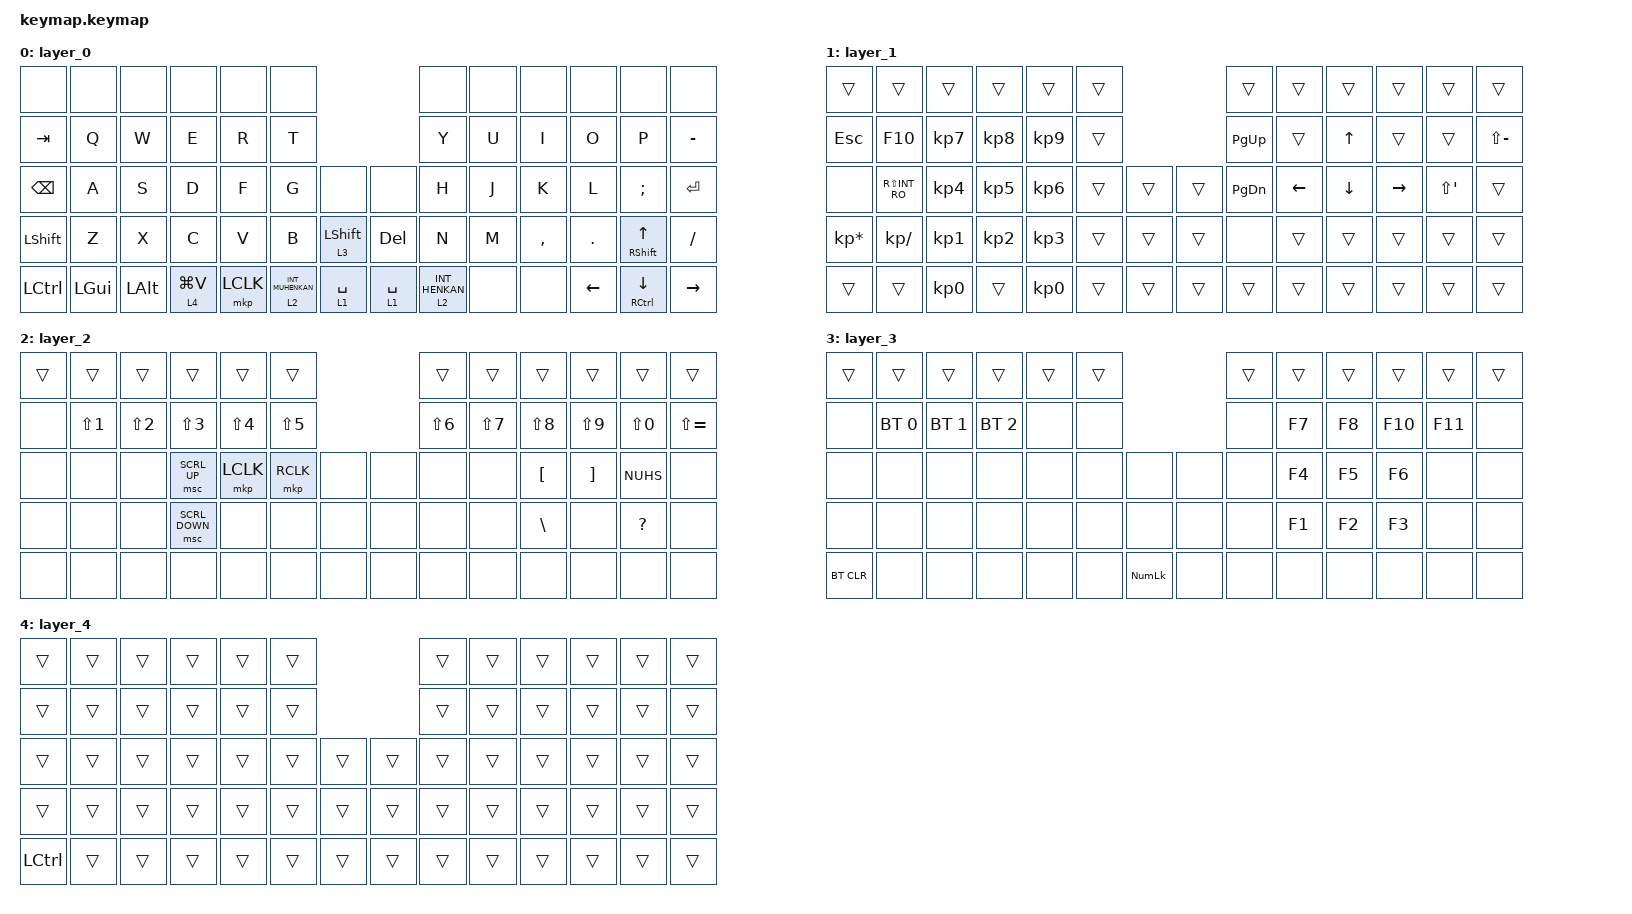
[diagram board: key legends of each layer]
#include <behaviors.dtsi>
#include <dt-bindings/zmk/bt.h>
#include <dt-bindings/zmk/keys.h>
#include <dt-bindings/zmk/pointing.h>

&lt {
    flavor = "balanced";
    bindings = <&mo>, <&kp>;
    tapping-term-ms = <150>;
};

&mt {
    bindings = <&kp>, <&kp>;
    tapping-term-ms = <150>;
    flavor = "balanced";
};

/ {
    /* 🏎️ 縦スクロール（WHEEL）を「1/3の速度」に落とすためのプロセッサ */
    zip_scroll_scaler_y: zip_scroll_scaler_y {
        compatible = "zmk,input-processor-scaler";
        #input-processor-cells = <2>;
        type = <INPUT_EV_REL>;
        codes = <INPUT_REL_WHEEL>;
        track-remainders;
    };

    /* 🔄 横スクロール（HWHEEL）の倍率をマイナスにして「左右反転 ＆ 1/3の速度」にするためのプロセッサ */
    zip_scroll_scaler_x: zip_scroll_scaler_x {
        compatible = "zmk,input-processor-scaler";
        #input-processor-cells = <2>;
        type = <INPUT_EV_REL>;
        codes = <INPUT_REL_HWHEEL>;
        track-remainders;
    };

    /* 🎯 完璧に動作した本物のリスナーノードをルート内部で上書き拡張！ */
    pointing_listener {
        status = "okay";
        device = <&{/}>;
        
        scroller {
            layers = <2>;
            /* 
             * 🏁 処理の順番：
             * ① 内蔵マッパーでまずは安全にスクロールへ変換（&zip_xy_to_scroll_mapper）
             * ② 縦スクロールを 1/3速 に減速（&zip_scroll_scaler_y 1 3）
             * ③ 横スクロールの倍率をマイナスにして、左右反転 ＆ 1/3速 に同時変換
             *   （エラー回避のため、マイナス1を丸括弧で囲んで `(-1)` と安全に記述しています）
             */
            input-processors = 
                <&zip_xy_to_scroll_mapper>, 
                <&zip_scroll_scaler_y 1 3>, 
                <&zip_scroll_scaler_x (-1) 3>; // 👈 ここを (-1) にして構文エラーを完全撃破！
        };
    };

    combos {
        compatible = "zmk,combos";

        f2 {
            bindings = <&kp F2>;
            key-positions = <28 27>;
        };

        leftclick {
            bindings = <&mkp LCLK>;
            key-positions = <33 34>;
        };

        rightclick {
            bindings = <&mkp RCLK>;
            key-positions = <34 35>;
        };
    };

    keymap {
        compatible = "zmk,keymap";

        layer_0 {
            bindings = <
&none             &none         &none         &none        &none      &none                                         &none             &none  &none      &none     &none                     &none
&kp TAB           &kp Q         &kp W         &kp E        &kp R      &kp T                                         &kp Y             &kp U  &kp I      &kp O     &kp P                     &kp MINUS
&kp BACKSPACE     &kp A         &kp S         &kp D        &kp F      &kp G               &none        &none        &kp H             &kp J  &kp K      &kp L     &kp SEMI                  &kp ENTER
&kp LSHFT         &kp Z         &kp X         &kp C        &kp V      &kp B               &lt 3 LSHFT  &kp DEL      &kp N             &kp M  &kp COMMA  &kp DOT   &mt RIGHT_SHIFT UP_ARROW  &kp SLASH
&kp LEFT_CONTROL  &kp LEFT_GUI  &kp LEFT_ALT  &lt 4 LG(V)  &mkp LCLK  &lt 2 INT_MUHENKAN  &lt 1 SPACE  &lt 1 SPACE  &lt 2 INT_HENKAN  &none  &none      &kp LEFT  &mt RCTRL DOWN            &kp RIGHT
            >;
        };

        layer_1 {
            bindings = <
&trans           &trans          &trans           &trans           &trans           &trans                  &trans         &trans          &trans        &trans     &trans       &trans
&kp ESCAPE       &kp F10         &kp KP_NUMBER_7  &kp KP_NUMBER_8  &kp KP_NUMBER_9  &trans                  &kp PAGE_UP    &trans          &kp UP_ARROW  &trans     &trans       &kp LS(MINUS)
&none            &kp RS(INT_RO)  &kp KP_NUMBER_4  &kp KP_NUMBER_5  &kp KP_NUMBER_6  &trans  &trans  &trans  &kp PAGE_DOWN  &kp LEFT_ARROW  &kp DOWN      &kp RIGHT  &kp LS(SQT)  &trans
&kp KP_MULTIPLY  &kp KP_DIVIDE   &kp KP_NUMBER_1  &kp KP_NUMBER_2  &kp KP_NUMBER_3  &trans  &trans  &trans  &none          &trans          &trans        &trans     &trans       &trans
&trans           &trans          &kp KP_NUMBER_0  &trans           &kp KP_NUMBER_0  &trans  &trans  &trans  &trans         &trans          &trans        &trans     &trans       &trans
            >;
        };

        layer_2 {
            bindings = <
&trans  &trans            &trans            &trans          &trans      &trans                    &trans      &trans      &trans      &trans      &trans      &trans
&none   &kp LS(NUMBER_1)  &kp LS(NUMBER_2)  &kp LS(N3)      &kp LS(N4)  &kp LS(N5)                &kp LS(N6)  &kp LS(N7)  &kp LS(N8)  &kp LS(N9)  &kp LS(N0)  &kp LS(EQUAL)
&none   &none             &none             &msc SCRL_UP    &mkp LCLK   &mkp RCLK   &none  &none  &none       &none       &kp LBKT    &kp RBKT    &kp NUHS    &none
&none   &none             &none             &msc SCRL_DOWN  &none       &none       &none  &none  &none       &none       &kp BSLH    &none       &kp QMARK   &none
&none   &none             &none             &none           &none       &none       &none  &none  &none       &none       &none       &none       &none       &none
            >;
        };

        layer_3 {
            bindings = <
&trans      &trans        &trans        &trans        &trans  &trans                         &trans  &trans  &trans  &trans   &trans   &trans
&none       &bt BT_SEL 0  &bt BT_SEL 1  &bt BT_SEL 2  &none   &none                          &none   &kp F7  &kp F8  &kp F10  &kp F11  &none
&none       &none         &none         &none         &none   &none   &none           &none  &none   &kp F4  &kp F5  &kp F6   &none    &none
&none       &none         &none         &none         &none   &none   &none           &none  &none   &kp F1  &kp F2  &kp F3   &none    &none
&bt BT_CLR  &none         &none         &none         &none   &none   &kp KP_NUMLOCK  &none  &none   &none   &none   &none    &none    &none
            >;
        };

        layer_4 {
            bindings = <
&trans     &trans  &trans  &trans  &trans  &trans                  &trans  &trans  &trans  &trans  &trans  &trans
&trans     &trans  &trans  &trans  &trans  &trans                  &trans  &trans  &trans  &trans  &trans  &trans
&trans     &trans  &trans  &trans  &trans  &trans  &trans  &trans  &trans  &trans  &trans  &trans  &trans  &trans
&trans     &trans  &trans  &trans  &trans  &trans  &trans  &trans  &trans  &trans  &trans  &trans  &trans  &trans
&kp LCTRL  &trans  &trans  &trans  &trans  &trans  &trans  &trans  &trans  &trans  &trans  &trans  &trans  &trans
            >;
        };
    };
};
